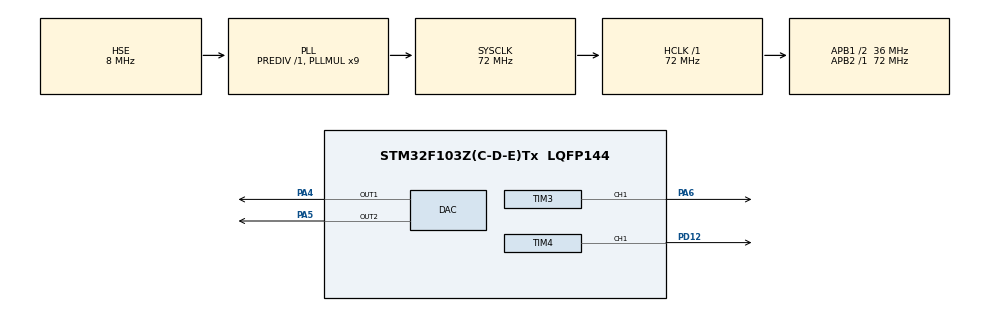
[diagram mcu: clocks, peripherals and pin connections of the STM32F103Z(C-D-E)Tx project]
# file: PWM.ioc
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DAC.DAC_Trigger=DAC_TRIGGER_T2_TRGO
DAC.DAC_Trigger2=DAC_TRIGGER_T2_TRGO
DAC.WaveGeneration=DISABLE
Dma.DAC_CH1.0.Direction=DMA_MEMORY_TO_PERIPH
Dma.DAC_CH1.0.Instance=DMA2_Channel3
Dma.DAC_CH1.0.MemDataAlignment=DMA_MDATAALIGN_HALFWORD
Dma.DAC_CH1.0.MemInc=DMA_MINC_ENABLE
Dma.DAC_CH1.0.Mode=DMA_CIRCULAR
Dma.DAC_CH1.0.PeriphDataAlignment=DMA_PDATAALIGN_HALFWORD
Dma.DAC_CH1.0.PeriphInc=DMA_PINC_DISABLE
Dma.DAC_CH1.0.Priority=DMA_PRIORITY_VERY_HIGH
Dma.DAC_CH2.1.Direction=DMA_MEMORY_TO_PERIPH
Dma.DAC_CH2.1.Instance=DMA2_Channel4
Dma.DAC_CH2.1.MemDataAlignment=DMA_MDATAALIGN_HALFWORD
Dma.DAC_CH2.1.MemInc=DMA_MINC_ENABLE
Dma.DAC_CH2.1.Mode=DMA_CIRCULAR
Dma.DAC_CH2.1.PeriphDataAlignment=DMA_PDATAALIGN_HALFWORD
Dma.DAC_CH2.1.PeriphInc=DMA_PINC_DISABLE
Dma.DAC_CH2.1.Priority=DMA_PRIORITY_VERY_HIGH
Dma.Request0=DAC_CH1
Dma.Request1=DAC_CH2
Mcu.Family=STM32F1
Mcu.Name=STM32F103Z(C-D-E)Tx
Mcu.Package=LQFP144
NVIC.DMA2_Channel3_IRQn=true\:0\:0\:false\:false\:true\:false\:true
NVIC.DMA2_Channel4_5_IRQn=true\:0\:0\:false\:false\:true\:false\:true
NVIC.PriorityGroup=NVIC_PRIORITYGROUP_4
OSC_IN.Mode=HSE-External-Oscillator
OSC_IN.Signal=RCC_OSC_IN
OSC_OUT.Mode=HSE-External-Oscillator
OSC_OUT.Signal=RCC_OSC_OUT
PA13.Mode=Serial_Wire
PA13.Signal=SYS_JTMS-SWDIO
PA14.Mode=Serial_Wire
PA14.Signal=SYS_JTCK-SWCLK
PA4.Signal=COMP_DAC1_group
PA5.Signal=COMP_DAC2_group
PA6.Signal=S_TIM3_CH1
PC14-OSC32_IN.Mode=LSE-External-Oscillator
PC14-OSC32_IN.Signal=RCC_OSC32_IN
PC15-OSC32_OUT.Mode=LSE-External-Oscillator
PC15-OSC32_OUT.Signal=RCC_OSC32_OUT
PD12.Signal=S_TIM4_CH1
ProjectManager.HeapSize=0x200
ProjectManager.StackSize=0x400
ProjectManager.TargetToolchain=MDK-ARM V5.32
RCC.AHBFreq_Value=72000000
RCC.APB1CLKDivider=RCC_HCLK_DIV2
RCC.APB1Freq_Value=36000000
RCC.APB1TimFreq_Value=72000000
RCC.APB2Freq_Value=72000000
RCC.APB2TimFreq_Value=72000000
RCC.HCLKFreq_Value=72000000
RCC.PLLMUL=RCC_PLL_MUL9
RCC.PLLSourceVirtual=RCC_PLLSOURCE_HSE
RCC.SYSCLKFreq_VALUE=72000000
RCC.SYSCLKSource=RCC_SYSCLKSOURCE_PLLCLK
RCC.USBFreq_Value=72000000
SH.COMP_DAC1_group.0=DAC_OUT1,DAC_OUT1
SH.COMP_DAC2_group.0=DAC_OUT2,DAC_OUT2
SH.S_TIM3_CH1.0=TIM3_CH1,PWM Generation1 CH1
SH.S_TIM4_CH1.0=TIM4_CH1,PWM Generation1 CH1
TIM2.Period=3
TIM2.Prescaler=71
TIM2.TIM_MasterOutputTrigger=TIM_TRGO_UPDATE
TIM3.Channel-PWM\ Generation1\ CH1=TIM_CHANNEL_1
TIM3.Period=1000-1
TIM3.Prescaler=71
TIM3.Pulse-PWM\ Generation1\ CH1=300
TIM4.Channel-PWM\ Generation1\ CH1=TIM_CHANNEL_1
TIM4.Period=100-1
TIM4.Prescaler=71
TIM4.Pulse-PWM\ Generation1\ CH1=50
VP_TIM2_VS_ClockSourceINT.Mode=Internal
VP_TIM3_VS_ClockSourceINT.Mode=Internal
VP_TIM4_VS_ClockSourceINT.Mode=Internal
board=custom

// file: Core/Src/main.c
/* USER CODE BEGIN Header */
/**
  ******************************************************************************
  * @file           : main.c
  * @brief          : Main program body
  ******************************************************************************
  * @attention
  *
  * Copyright (c) 2022 STMicroelectronics.
  * All rights reserved.
  *
  * This software is licensed under terms that can be found in the LICENSE file
  * in the root directory of this software component.
  * If no LICENSE file comes with this software, it is provided AS-IS.
  *
  ******************************************************************************
  */
/* USER CODE END Header */
#include "main.h"
#include "dac.h"
#include "dma.h"
#include "tim.h"
#include "gpio.h"

/* USER CODE BEGIN Includes */
#include "math.h"
/* USER CODE END Includes */

void SystemClock_Config(void);

int main(void)
{

  /* MCU Configuration--------------------------------------------------------*/

  /* Reset of all peripherals, Initializes the Flash interface and the Systick. */
  HAL_Init();

  /* Configure the system clock */
  SystemClock_Config();

  /* Initialize all configured peripherals */
  MX_GPIO_Init();
    MX_DMA_Init();
  MX_TIM2_Init();
  MX_TIM3_Init();

  MX_DAC_Init();
  MX_TIM4_Init();

  /* Infinite loop */
  /* USER CODE BEGIN WHILE */

  /*
	矩形波1：频率1Khz，定时器3，通道1，PA6
	矩形波2：频率10Khz，定时器4，通道1，PD12
	三角波:频率72M/(72*(3+1)*256) = 977，定时器2 + DAC通道1，PA4
	正弦波:频率72M/(72*(3+1)*256) = 977，定时器2 + DAC通道2，PA5
  */

	// PWM生成
	HAL_TIM_PWM_Start(&htim3, TIM_CHANNEL_1);
	HAL_TIM_PWM_Start(&htim4, TIM_CHANNEL_1);

	__HAL_TIM_SET_COMPARE(&htim3, TIM_CHANNEL_1, 300);
	__HAL_TIM_SET_COMPARE(&htim4, TIM_CHANNEL_1, 20);

	// 三角波 一个周期256个数
	uint16_t triangularWave[256];
	for(uint16_t i = 0; i < 256; i++)
    {
        if(i < 256 / 2)
        {
            triangularWave[i] = (uint32_t)(1.0 * i / 127 * 4095);
        }
        else
        {
            triangularWave[i] = triangularWave[255 - i];
        }
    }

	// 正弦波
	uint16_t SineWave[256];
	float PI = 3.1415926;
	for(uint16_t i = 0; i < 256; i++)
    {
        SineWave[i] = (uint16_t)((sin((1.0 * i / 256) * 2 * PI) + 1.0) * 2048); //(uint16_t)((sin((1.0*i/(cycle))*2*PI)+1.0)*4095/2.0);//
    }

	// 开始 三角波 正弦波 波形
	HAL_TIM_Base_Start(&htim2);
	HAL_DAC_Start_DMA(&hdac, DAC_CHANNEL_1, (uint32_t *)triangularWave, 256, DAC_ALIGN_12B_R);
	HAL_DAC_Start_DMA(&hdac, DAC_CHANNEL_2, (uint32_t *)SineWave, 256, DAC_ALIGN_12B_R);

  while (1)
  {
    /* USER CODE END WHILE */

  }
}

void SystemClock_Config(void)
{
  RCC_OscInitTypeDef RCC_OscInitStruct = {0};
  RCC_ClkInitTypeDef RCC_ClkInitStruct = {0};

  /** Initializes the RCC Oscillators according to the specified parameters
  * in the RCC_OscInitTypeDef structure.
  */
  RCC_OscInitStruct.OscillatorType = RCC_OSCILLATORTYPE_HSE;
  RCC_OscInitStruct.HSEState = RCC_HSE_ON;
  RCC_OscInitStruct.HSEPredivValue = RCC_HSE_PREDIV_DIV1;
  RCC_OscInitStruct.HSIState = RCC_HSI_ON;
  RCC_OscInitStruct.PLL.PLLState = RCC_PLL_ON;
  RCC_OscInitStruct.PLL.PLLSource = RCC_PLLSOURCE_HSE;
  RCC_OscInitStruct.PLL.PLLMUL = RCC_PLL_MUL9;
  if (HAL_RCC_OscConfig(&RCC_OscInitStruct) != HAL_OK)
  {
    Error_Handler();
  }
  /** Initializes the CPU, AHB and APB buses clocks
  */
  RCC_ClkInitStruct.ClockType = RCC_CLOCKTYPE_HCLK|RCC_CLOCKTYPE_SYSCLK
                              |RCC_CLOCKTYPE_PCLK1|RCC_CLOCKTYPE_PCLK2;
  RCC_ClkInitStruct.SYSCLKSource = RCC_SYSCLKSOURCE_PLLCLK;
  RCC_ClkInitStruct.AHBCLKDivider = RCC_SYSCLK_DIV1;
  RCC_ClkInitStruct.APB1CLKDivider = RCC_HCLK_DIV2;
  RCC_ClkInitStruct.APB2CLKDivider = RCC_HCLK_DIV1;

  if (HAL_RCC_ClockConfig(&RCC_ClkInitStruct, FLASH_LATENCY_2) != HAL_OK)
  {
    Error_Handler();
  }
}

void Error_Handler(void)
{
  __disable_irq();
  while (1)
  {
  }
}
